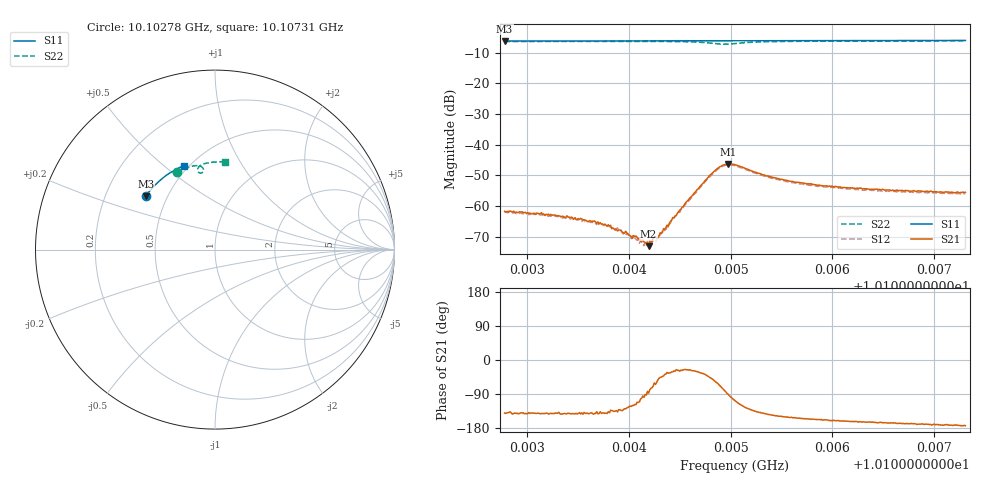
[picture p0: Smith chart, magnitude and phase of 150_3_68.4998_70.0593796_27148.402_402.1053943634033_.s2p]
#  HZ  S  RI  R  50.00
! Rohde & Schwarz Vector Network Analyzer
! Rohde-Schwarz,ZNB20-2Port,1311601062101988,3.16
! Created: UTC 3/20/2024, 5:10:24 PM
! freq[Hz]  re:S11  im:S11  re:S21  im:S21  re:S12  im:S12  re:S22  im:S22
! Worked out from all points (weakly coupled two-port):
!   401 points, 10.10278 GHz to 10.10731 GHz, reference 50 ohm
!   highest |S21| = -46.30 dB at 10.10497 GHz (marker M1); lowest = -73.1 dB at 10.10419 GHz (marker M2)
!   lowest |S11| = -6.2 dB at 10.10278 GHz (marker M3), VSWR 2.90, Z = 19 + j14.8 ohm
!   |S11| at or under -10 dB: nowhere
!   |S22| runs from -7.3 to -6.2 dB; largest |S21 - S12| = 0.0005
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1.0102778e10  -0.3858 0.2977  -0.000625 -0.000521  -0.000529 -0.000567  -0.2128 0.4297
1.0103118e10  -0.3735 0.3145  -0.000575 -0.000469  -0.000515 -0.000504  -0.1929 0.4399
1.0103537e10  -0.3576 0.3342  -0.000466 -0.000397  -0.000413 -0.000384  -0.1669 0.4515
1.0103797e10  -0.347 0.3461  -0.000357 -0.000338  -0.000312 -0.000349  -0.1499 0.458
1.0103899e10  -0.3429 0.3507  -0.000266 -0.000306  -0.000236 -0.000328  -0.1432 0.4602
1.010399e10  -0.3392 0.3547  -0.000201 -0.000283  -0.000175 -0.000308  -0.1367 0.462
1.0104012e10  -0.3382 0.3558  -0.000171 -0.000276  -0.00015 -0.000278  -0.1351 0.4626
1.010408e10  -0.3353 0.3587  -0.000113 -0.000285  -0.000102 -0.000253  -0.1303 0.4639
1.0104125e10  -0.3333 0.3606  -4.81e-05 -0.000258  -5.64e-05 -0.000253  -0.1268 0.4646
1.0104148e10  -0.3323 0.3617  -3.8e-05 -0.000254  -1.66e-05 -0.000224  -0.125 0.4651
1.0104193e10  -0.3305 0.3636  9.6e-06 -0.00022  3.64e-05 -0.000269  -0.1216 0.4658
1.010425e10  -0.328 0.366  0.000151 -0.000267  0.000144 -0.000231  -0.1172 0.4666
1.0104295e10  -0.3261 0.3679  0.000214 -0.000241  0.000217 -0.000214  -0.1136 0.4672
1.0104578e10  -0.3134 0.3796  0.0011 -0.00053  0.00108 -0.000432  -0.0868 0.4668
1.0104805e10  -0.3031 0.3885  0.0022 -0.00239  0.0023 -0.00208  -0.0643 0.4471
1.0104895e10  -0.2988 0.392  0.00162 -0.00405  0.00189 -0.00372  -0.0687 0.4309
1.0104974e10  -0.2953 0.395  -3.84e-05 -0.00484  0.000368 -0.00463  -0.0839 0.4265
1.0105042e10  -0.2921 0.3975  -0.00141 -0.00447  -0.000946 -0.00443  -0.0943 0.4342
1.0105405e10  -0.2749 0.411  -0.0024 -0.00165  -0.00216 -0.00181  -0.0771 0.4715
1.0105801e10  -0.2551 0.4247  -0.00205 -0.000917  -0.00189 -0.00105  -0.0463 0.4822
1.0106559e10  -0.2154 0.4479  -0.00177 -0.000428  -0.00164 -0.000549  0.00636 0.4883
1.0107307e10  -0.1746 0.4674  -0.00165 -0.000197  -0.00154 -0.000362  0.0553 0.4874
